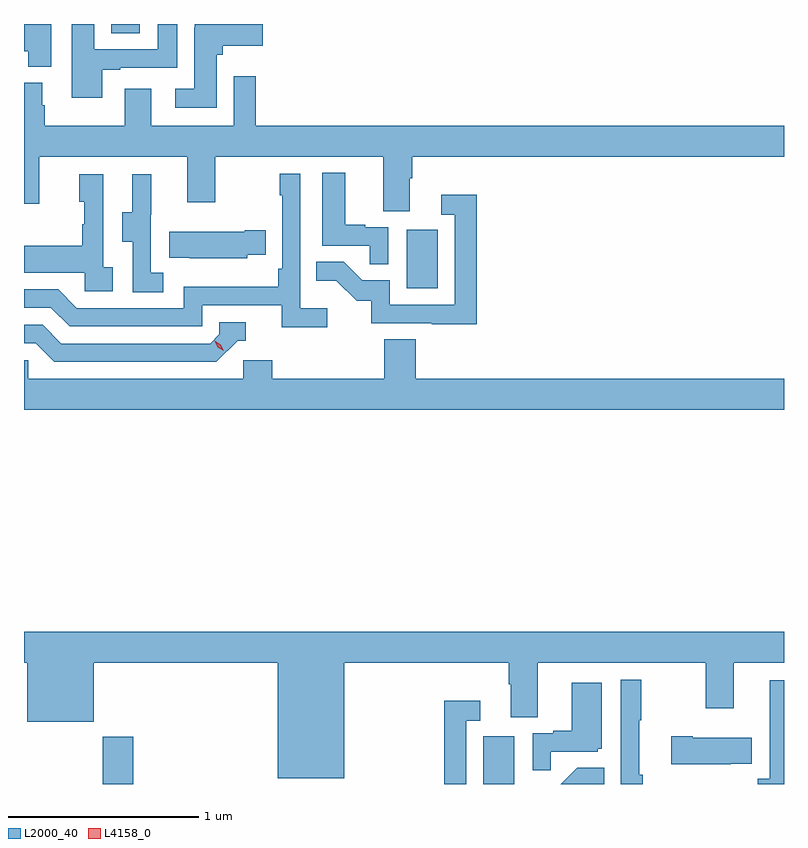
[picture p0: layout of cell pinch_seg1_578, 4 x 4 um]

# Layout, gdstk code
import gdstk
lib = gdstk.Library(unit=1e-6, precision=1e-09)
def R(c, l, rs):  # rectangles x0, y0, x1, y1
    for r in rs: c.add(gdstk.rectangle(r[:2], r[2:], *l))
def P(c, l, *ps):  # polygons
    for p in ps: c.add(gdstk.Polygon(p, *l))
L2000_40 = (2000, 40)
L4158_0 = (4158, 0)

pinch_seg1_578 = lib.new_cell('pinch_seg1_578')
R(pinch_seg1_578, L2000_40, [(1033.114,509.803,1033.274,510.052), (1035.116,509.803,1035.28,510.055), (1034.714,512.412,1034.878,512.719), (1033.16,513.754,1033.309,513.803)])
P(pinch_seg1_578, L2000_40, [(1033.714,513.642),(1033.745,513.642),(1033.745,513.689),(1033.957,513.689),(1033.957,513.803),(1033.599,513.803),(1033.599,513.782),(1033.595,513.782),(1033.595,513.463),(1033.497,513.463),(1033.497,513.362),(1033.714,513.362)],
  [(1033.111,513.561),(1033.207,513.561),(1033.207,513.573),(1033.507,513.573),(1033.507,513.803),(1033.403,513.803),(1033.403,513.669),(1033.069,513.669),(1033.069,513.803),(1032.95,513.803),(1032.95,513.414),(1033.111,513.414)],
  [(1032.844,513.803),(1032.7,513.803),(1032.7,513.659),(1032.722,513.659),(1032.722,513.578),(1032.844,513.578)],
  [(1034.731,512.992),(1034.744,512.992),(1034.744,513.104),(1036.7,513.104),(1036.7,513.268),(1033.919,513.268),(1033.919,513.529),(1033.803,513.529),(1033.803,513.268),(1033.369,513.268),(1033.369,513.463),(1033.229,513.463),(1033.229,513.268),(1032.808,513.268),(1032.808,513.375),(1032.796,513.375),(1032.796,513.493),(1032.7,513.493),(1032.7,512.856),(1032.779,512.856),(1032.779,513.104),(1033.559,513.104),(1033.559,512.865),(1033.707,512.865),(1033.707,513.104),(1034.591,513.104),(1034.591,512.818),(1034.731,512.818)],
  [(1034.616,512.733),(1034.495,512.733),(1034.495,512.746),(1034.392,512.746),(1034.392,513.019),(1034.27,513.019),(1034.27,512.637),(1034.521,512.637),(1034.521,512.539),(1034.616,512.539)],
  [(1034.296,512.308),(1034.154,512.308),(1034.154,513.016),(1034.046,513.016),(1034.046,512.903),(1034.058,512.903),(1034.058,512.515),(1034.038,512.515),(1034.038,512.419),(1033.542,512.419),(1033.542,512.307),(1032.978,512.307),(1032.879,512.406),(1032.7,512.406),(1032.7,512.31),(1032.842,512.31),(1032.941,512.211),(1033.638,512.211),(1033.638,512.322),(1034.057,512.322),(1034.057,512.206),(1034.296,512.206)],
  [(1033.432,512.495),(1033.368,512.495),(1033.368,512.799),(1033.37,512.799),(1033.37,513.013),(1033.271,513.013),(1033.271,512.811),(1033.217,512.811),(1033.217,512.656),(1033.272,512.656),(1033.272,512.392),(1033.432,512.392)],
  [(1033.168,512.522),(1033.116,512.522),(1033.116,513.013),(1032.992,513.013),(1032.992,512.868),(1033.018,512.868),(1033.018,512.75),(1033.007,512.75),(1033.007,512.635),(1032.7,512.635),(1032.7,512.495),(1033.02,512.495),(1033.02,512.397),(1033.168,512.397)],
  [(1035.083,512.905),(1034.895,512.905),(1034.895,512.799),(1034.967,512.799),(1034.967,512.325),(1034.625,512.325),(1034.625,512.454),(1034.48,512.454),(1034.382,512.552),(1034.239,512.552),(1034.239,512.453),(1034.343,512.453),(1034.45,512.346),(1034.527,512.346),(1034.527,512.229),(1034.845,512.229),(1034.845,512.224),(1035.083,512.224)],
  [(1033.875,512.588),(1033.973,512.588),(1033.973,512.718),(1033.862,512.718),(1033.862,512.71),(1033.465,512.71),(1033.465,512.573),(1033.573,512.573),(1033.573,512.57),(1033.875,512.57)],
  [(1033.824,512.136),(1033.867,512.136),(1033.867,512.232),(1033.728,512.232),(1033.728,512.169),(1033.68,512.121),(1032.897,512.121),(1032.798,512.22),(1032.7,512.22),(1032.7,512.124),(1032.761,512.124),(1032.86,512.025),(1033.713,512.025)],
  [(1036.7,511.936),(1034.762,511.936),(1034.762,512.144),(1034.597,512.144),(1034.597,511.936),(1034.006,511.936),(1034.006,512.034),(1033.854,512.034),(1033.854,511.936),(1032.723,511.936),(1032.723,512.034),(1032.7,512.034),(1032.7,511.772),(1036.7,511.772)],
  [(1034.386,510.44),(1035.251,510.44),(1035.251,510.328),(1035.263,510.328),(1035.263,510.154),(1035.403,510.154),(1035.403,510.44),(1036.288,510.44),(1036.288,510.201),(1036.435,510.201),(1036.435,510.44),(1036.7,510.44),(1036.7,510.604),(1032.7,510.604),(1032.7,510.44),(1032.716,510.44),(1032.716,510.131),(1033.066,510.131),(1033.066,510.44),(1034.036,510.44),(1034.036,509.834),(1034.386,509.834)],
  [(1035.956,509.851),(1035.937,509.851),(1035.937,510.139),(1035.949,510.139),(1035.949,510.352),(1035.84,510.352),(1035.84,509.803),(1035.956,509.803)],
  [(1036.7,510.349),(1036.625,510.349),(1036.625,510.135),(1036.626,510.135),(1036.626,509.831),(1036.563,509.831),(1036.563,509.803),(1036.7,509.803)],
  [(1035.473,509.973),(1035.72,509.973),(1035.72,509.988),(1035.742,509.988),(1035.742,510.337),(1035.584,510.337),(1035.584,510.082),(1035.485,510.082),(1035.485,510.069),(1035.378,510.069),(1035.378,509.875),(1035.473,509.875)],
  [(1035.027,510.135),(1035.1,510.135),(1035.1,510.241),(1034.911,510.241),(1034.911,509.803),(1035.027,509.803)],
  [(1036.421,509.909),(1036.529,509.909),(1036.529,510.046),(1036.219,510.046),(1036.219,510.054),(1036.107,510.054),(1036.107,509.906),(1036.421,509.906)],
  [(1035.755,509.888),(1035.611,509.888),(1035.526,509.803),(1035.755,509.803)])
P(pinch_seg1_578, L4158_0, [(1033.752,512.084),(1033.721,512.103),(1033.705,512.135),(1033.705,512.136),(1033.705,512.136),(1033.736,512.116),(1033.752,512.084),(1033.752,512.084)])

lib.write_gds('pinch_seg1_578.gds')
